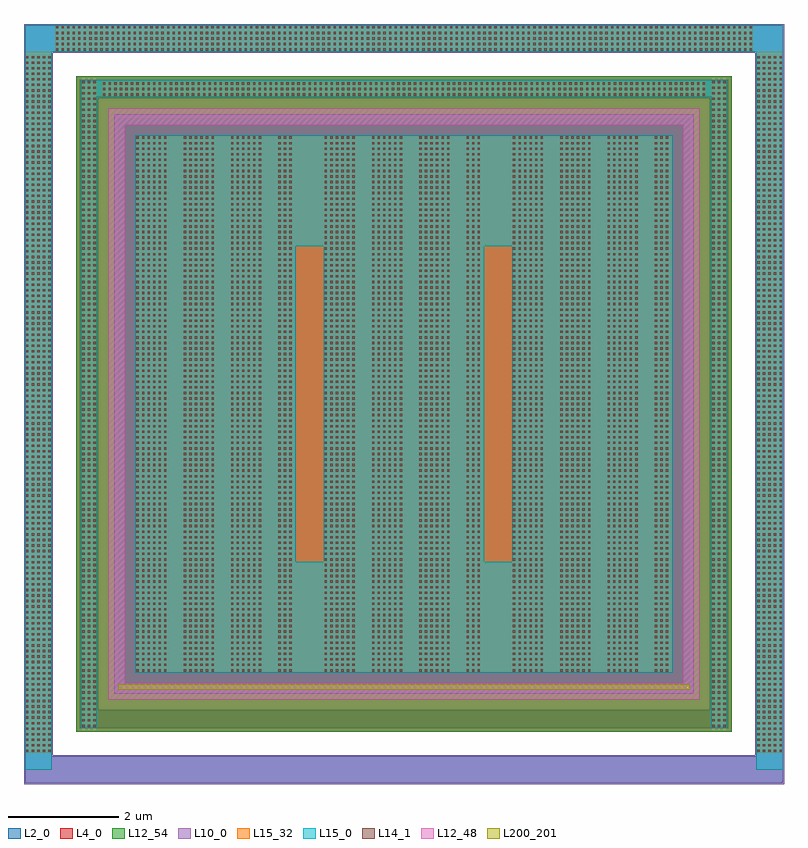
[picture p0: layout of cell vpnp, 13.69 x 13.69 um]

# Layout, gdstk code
import gdstk
lib = gdstk.Library(unit=1e-6, precision=1e-09)
def R(c, l, rs):  # rectangles x0, y0, x1, y1
    for r in rs: c.add(gdstk.rectangle(r[:2], r[2:], *l))
def A(c, l, x, y, w, h, nx, ny, dx, dy):  # array of equal rectangles
    R(c, l, [(x+i*dx, y+j*dy, x+i*dx+w, y+j*dy+h) for i in range(nx) for j in range(ny)])
L2_0 = (2, 0)
L4_0 = (4, 0)
L10_0 = (10, 0)
L12_48 = (12, 48)
L12_54 = (12, 54)
L14_1 = (14, 1)
L15_0 = (15, 0)
L15_32 = (15, 32)
L200_201 = (200, 201)

vpnp = lib.new_cell('vpnp')
R(vpnp, L2_0, [(-13.329,-5.359,0.323,-4.879), (-13.329,-4.879,-12.849,7.813), (-0.157,-4.879,0.323,7.813), (-12.349,-4.379,-0.657,-4.039), (-12.349,-4.039,-12.009,6.973), (-0.997,-4.039,-0.657,6.973), (-11.653,-3.683,-1.353,6.617), (-12.349,6.973,-0.657,7.313), (-13.329,7.813,0.323,8.293)])
R(vpnp, L4_0, [(-12.405,-4.435,-0.601,7.369)])
R(vpnp, L10_0, [(-13.35,-5.38,0.344,-4.858), (-13.35,-4.858,-12.828,7.792), (-0.178,-4.858,0.344,7.792), (-11.723,-3.753,-1.283,6.687), (-13.35,7.792,0.344,8.314)])
R(vpnp, L12_48, [(-11.834,-3.864,-1.172,-3.558), (-11.834,-3.558,-11.528,6.492), (-1.478,-3.558,-1.172,6.492), (-11.834,6.492,-1.172,6.798)])
R(vpnp, L12_54, [(-12.405,-4.435,-0.601,7.369)])
A(vpnp, L14_1, -13.309, -4.803, 0.04, 0.04, 5, 126, 0.1, 0.1)
A(vpnp, L14_1, -0.137, -4.803, 0.04, 0.04, 5, 126, 0.1, 0.1)
A(vpnp, L14_1, -12.299, -4.353, 0.04, 0.04, 3, 117, 0.1, 0.1)
A(vpnp, L14_1, -0.947, -4.353, 0.04, 0.04, 3, 117, 0.1, 0.1)
A(vpnp, L14_1, -11.323, -3.353, 0.04, 0.04, 6, 97, 0.1, 0.1)
A(vpnp, L14_1, -10.471, -3.353, 0.04, 0.04, 6, 97, 0.1, 0.1)
A(vpnp, L14_1, -9.619, -3.353, 0.04, 0.04, 6, 97, 0.1, 0.1)
A(vpnp, L14_1, -8.767, -3.353, 0.04, 0.04, 3, 97, 0.1, 0.1)
A(vpnp, L14_1, -7.931, -3.353, 0.04, 0.04, 6, 97, 0.1, 0.1)
A(vpnp, L14_1, -7.079, -3.353, 0.04, 0.04, 6, 97, 0.1, 0.1)
A(vpnp, L14_1, -6.227, -3.353, 0.04, 0.04, 6, 97, 0.1, 0.1)
A(vpnp, L14_1, -5.375, -3.353, 0.04, 0.04, 3, 97, 0.1, 0.1)
A(vpnp, L14_1, -4.539, -3.353, 0.04, 0.04, 6, 97, 0.1, 0.1)
A(vpnp, L14_1, -3.687, -3.353, 0.04, 0.04, 6, 97, 0.1, 0.1)
A(vpnp, L14_1, -2.835, -3.353, 0.04, 0.04, 6, 97, 0.1, 0.1)
A(vpnp, L14_1, -1.983, -3.353, 0.04, 0.04, 3, 97, 0.1, 0.1)
A(vpnp, L14_1, -11.923, 7.023, 0.04, 0.04, 109, 3, 0.1, 0.1)
A(vpnp, L14_1, -12.773, 7.833, 0.04, 0.04, 126, 5, 0.1, 0.1)
A(vpnp, L15_0, -11.341, -1.371, 2.892, 5.676, 3, 1, 3.392, 0)
R(vpnp, L15_0, [(-13.327,-5.119,-12.851,8.291), (-0.155,-5.119,0.321,8.291), (-12.317,-4.371,-12.041,7.305), (-0.965,-4.371,-0.689,7.305), (-11.341,-3.371,-1.665,-1.371), (-11.341,4.305,-1.665,6.305), (-12.041,7.005,-0.965,7.305), (-12.851,7.815,-0.155,8.291)])
R(vpnp, L15_32, [(-13.327,-4.821,-12.851,7.815), (-0.155,-4.821,0.321,7.815), (-12.317,-4.371,-12.041,7.305), (-0.965,-4.371,-0.689,7.305), (-11.341,-3.371,-1.665,6.305), (-11.941,7.005,-1.065,7.281), (-12.791,7.815,-0.215,8.291)])
R(vpnp, L200_201, [(-11.653,-3.683,-1.353,-3.583)])

lib.write_gds('vpnp.gds')
